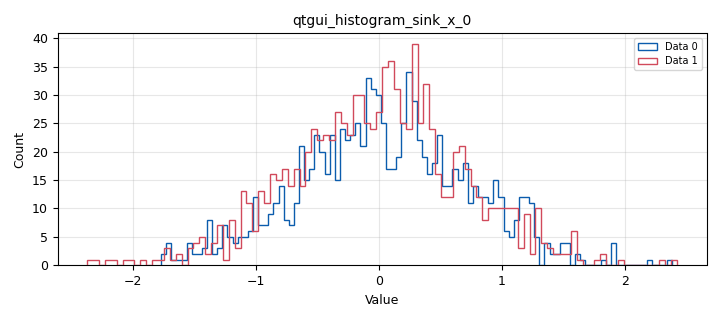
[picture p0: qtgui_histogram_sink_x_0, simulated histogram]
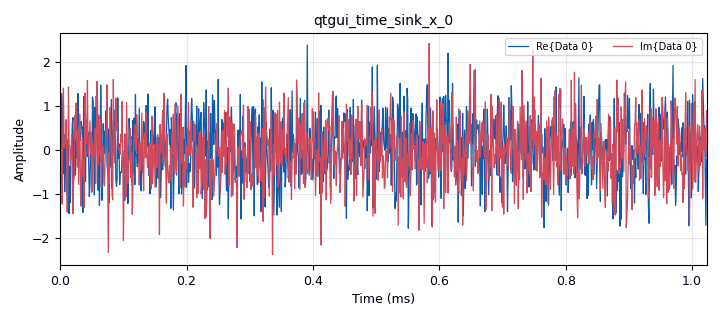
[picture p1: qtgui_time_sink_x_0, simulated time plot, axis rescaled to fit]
options:
  parameters:
    author: Otniel Marquina; Andrés Velasquez
    generate_options: qt_gui
    id: Mision7_Otniel_Andrés
    output_language: python
    title: GNU+IA
  states: {}

blocks:
- name: Amplitud
  id: variable_qtgui_range
  parameters:
    start: '0'
    step: '0.1'
    stop: '5'
    value: '1'
  states: {}
- name: N_0
  id: variable_qtgui_range
  parameters:
    start: '0'
    step: '0.01'
    stop: '1'
    value: '0.5'
  states: {}
- name: samp_rate
  id: variable
  parameters:
    value: 1e6
  states: {}
- name: a
  id: qtgui_number_sink
  parameters:
    graph_type: qtgui.NUM_GRAPH_HORIZ
    max: '10'
    min: '-10'
    name: Potencia
    type: float
  states: {}
- name: analog_noise_source_x_0
  id: analog_noise_source_x
  parameters:
    amp: Amplitud
    noise_type: analog.GR_GAUSSIAN
    seed: '0'
    type: complex
  states: {}
- name: analog_sig_source_x_0
  id: analog_sig_source_x
  parameters:
    amp: Amplitud
    freq: '100000'
    offset: '0'
    phase: '0'
    samp_rate: samp_rate
    type: complex
    waveform: analog.GR_SIN_WAVE
  states: {state: disabled}
- name: b
  id: qtgui_number_sink
  parameters:
    graph_type: qtgui.NUM_GRAPH_HORIZ
    name: Media
    type: float
  states: {}
- name: blocks_complex_to_float_0
  id: blocks_complex_to_float
  parameters: {}
  states: {}
- name: blocks_stream_to_vector_decimator_0
  id: blocks_stream_to_vector_decimator
  parameters:
    sample_rate: samp_rate
    type: complex
    vec_rate: '30'
    vlen: '512'
  states: {}
- name: blocks_throttle2_0
  id: blocks_throttle2
  parameters:
    samples_per_second: samp_rate
    type: complex
  states: {}
- name: c
  id: qtgui_number_sink
  parameters:
    graph_type: qtgui.NUM_GRAPH_HORIZ
    name: STD
    type: float
  states: {}
- name: epy_block_0
  id: epy_block
  parameters:
    _source_code: "import numpy as np\nfrom gnuradio import gr\n\nclass blk(gr.sync_block):\n    def __init__(self):\n        gr.sync_block.__init__(\n            self,\n            name='Potencia promedio',\n            in_sig=[(np.complex64, 512)],\n            out_sig=[np.float32]\n        )\n\n    def work(self, input_items, output_items):\n        x = input_items[0]  # x tiene forma [N, 1024]\n        N = 1024\n\n        # Potencia promedio explícita: (1/N) * sum(|x[n]|^2)\n        power = (1.0 / N) * np.sum(np.abs(x)**2, axis=1)\n\n        output_items[0][:] = power.astype(np.float32)\n        return len(output_items[0])\n\n"
  states: {}
- name: epy_block_1
  id: epy_block
  parameters:
    _source_code: |
      import numpy as np
      from gnuradio import gr

      class blk(gr.sync_block):
          """Bloque para calcular media y desviación estándar de la amplitud"""

          def __init__(self):
              gr.sync_block.__init__(
                  self,
                  name="Estadísticas de Amplitud",
                  in_sig=[(np.complex64, 512)],  # entrada: vector complejo (longitud configurable)
                  out_sig=[np.float32, np.float32]  # salidas: media y desviación estándar
              )

          def work(self, input_items, output_items):
              in0 = input_items[0]  # forma: (N, 1024)
              mean_out = output_items[0]
              std_out = output_items[1]

              for i, vec in enumerate(in0):
                  # Calcular magnitudes
                  magnitudes = np.abs(vec)

                  # Media de amplitud
                  mean_amp = np.mean(magnitudes)

                  # Desviación estándar de amplitud
                  std_amp = np.std(magnitudes)

                  # Asignar resultados a las salidas
                  mean_out[i] = mean_amp
                  std_out[i] = std_amp

              # Retornar el número de elementos producidos
              return len(mean_out)
  states: {}
- name: qtgui_histogram_sink_x_0
  id: qtgui_histogram_sink_x
  parameters:
    accum: 'True'
    bins: '100'
    nconnections: '2'
    size: '1024'
    type: float
    xmax: '1'
    xmin: '-1'
  states: {}
- name: qtgui_time_sink_x_0
  id: qtgui_time_sink_x
  parameters:
    size: '1024'
    srate: samp_rate
    type: complex
  states: {}

connections:
- [analog_noise_source_x_0, '0', blocks_throttle2_0, '0']
- [analog_sig_source_x_0, '0', blocks_throttle2_0, '0']
- [blocks_complex_to_float_0, '0', qtgui_histogram_sink_x_0, '0']
- [blocks_complex_to_float_0, '1', qtgui_histogram_sink_x_0, '1']
- [blocks_stream_to_vector_decimator_0, '0', epy_block_0, '0']
- [blocks_stream_to_vector_decimator_0, '0', epy_block_1, '0']
- [blocks_throttle2_0, '0', blocks_complex_to_float_0, '0']
- [blocks_throttle2_0, '0', blocks_stream_to_vector_decimator_0, '0']
- [blocks_throttle2_0, '0', qtgui_time_sink_x_0, '0']
- [epy_block_0, '0', a, '0']
- [epy_block_1, '0', b, '0']
- [epy_block_1, '1', c, '0']

metadata:
  file_format: 1
  grc_version: 3.10.12.0
